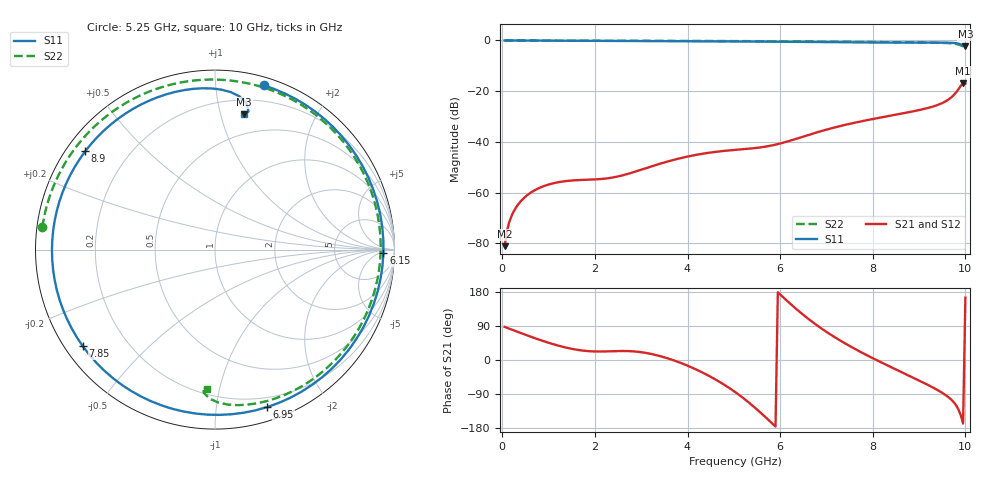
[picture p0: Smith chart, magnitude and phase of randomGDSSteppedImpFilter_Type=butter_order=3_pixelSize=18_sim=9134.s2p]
! freq	dB(S11)	phase(S11)	dB(S12)	phase(S12)
!  dB(S21)	phase(S21)	dB(S22)	phase(S22)
!S-par simulation data
#  GHz  S  DB  R 50
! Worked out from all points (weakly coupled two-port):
!   200 points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, 50 MHz to 10 GHz, reference 50 ohm
!   highest |S21| = -16.87 dB at 9.95 GHz (marker M1); lowest = -81.1 dB at 50 MHz (marker M2)
!   lowest |S11| = -2.3 dB at 10 GHz (marker M3), VSWR 7.71, Z = 16 + j59.4 ohm
!   |S11| at or under -10 dB: nowhere
!   |S22| runs from -2.3 to 0.0 dB; largest |S21 - S12| = 0
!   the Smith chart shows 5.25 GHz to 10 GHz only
!   S11 on the Smith chart (normalised r, x): 5.25 GHz: 0.06, +1.34; 6.15 GHz: 29, -9; 6.95 GHz: 0.11, -1.38; 7.85 GHz: 0.05, -0.33; 8.9 GHz: 0.05, +0.33; 10 GHz: 0.32, +1.19
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0.05  -0.01 -2.8  -81.13 87.4  -81.13 87.4  -0.01 -2.1
0.2  -0.02 -11.0  -69.20 80.4  -69.20 80.4  -0.01 -8.2
0.55  -0.03 -30.1  -60.86 64.4  -60.86 64.4  -0.03 -22.4
1.15  -0.08 -61.9  -56.13 40.0  -56.13 40.0  -0.06 -46.2
1.75  -0.11 -92.6  -54.99 24.7  -54.99 24.7  -0.09 -69.0
2.5  -0.15 -129.5  -53.63 23.7  -53.63 23.7  -0.12 -95.9
3.4  -0.21 -174.0  -48.65 10.5  -48.65 10.5  -0.15 -126.1
4.2  -0.27 142.9  -45.07 -25.8  -45.07 -25.8  -0.19 -152.2
4.65  -0.32 115.4  -43.84 -54.7  -43.84 -54.7  -0.22 -166.9
5.05  -0.37 88.3  -43.12 -86.4  -43.12 -86.4  -0.25 179.6
5.25  -0.40 73.5  -42.81 -104.9  -42.81 -104.9  -0.26 172.6
5.75  -0.48 33.5  -41.67 -158.3  -41.67 -158.3  -0.31 154.4
6.15  -0.55 -1.1  -39.90 156.0  -39.90 156.0  -0.35 138.6
6.7  -0.64 -50.0  -36.78 100.1  -36.78 100.1  -0.41 114.3
6.95  -0.68 -71.7  -35.43 78.3  -35.43 78.3  -0.44 102.0
7.35  -0.74 -105.0  -33.53 47.5  -33.53 47.5  -0.49 80.5
7.85  -0.80 -143.8  -31.53 14.0  -31.53 14.0  -0.57 49.9
8.35  -0.83 -179.9  -29.78 -16.1  -29.78 -16.1  -0.66 15.5
8.9  -0.85 142.9  -27.85 -48.2  -27.85 -48.2  -0.76 -24.6
9.5  -0.86 104.2  -24.70 -86.7  -24.70 -86.7  -0.96 -67.8
9.95  -2.03 76.4  -16.87 -167.6  -16.87 -167.6  -2.28 -94.9
10  -2.27 77.8  -16.96 164.5  -16.96 164.5  -2.18 -93.4
